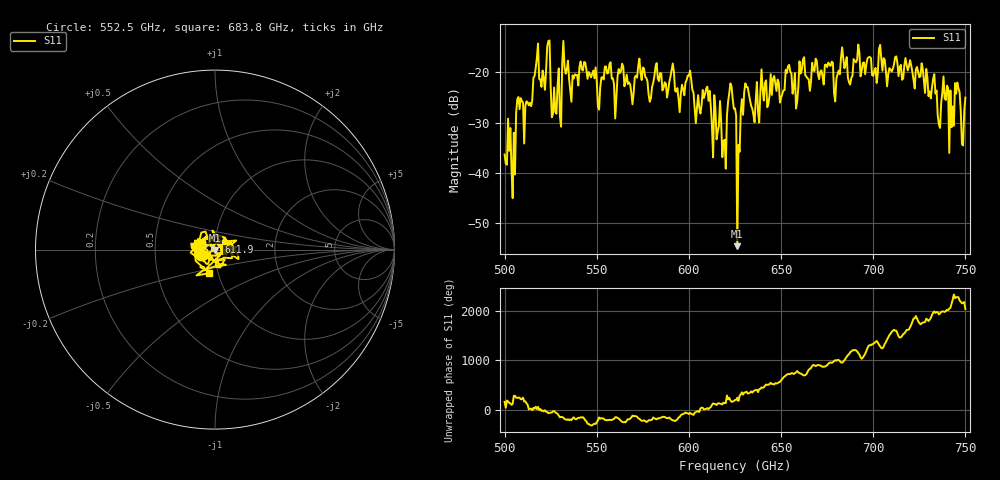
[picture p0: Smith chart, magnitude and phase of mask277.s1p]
!Created with skrf (http://scikit-rf.org).
# GHz S MA R 50.0
!freq magS11 angS11
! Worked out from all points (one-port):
!   401 points, 500 GHz to 750 GHz, reference 50 ohm
!   lowest |S11| = -54.6 dB at 626.2 GHz (marker M1), VSWR 1.00, Z = 49.9 - j0.175 ohm
!   |S11| at or under -10 dB: start of sweep to end of sweep
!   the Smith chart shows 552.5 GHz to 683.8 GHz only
!   S11 on the Smith chart (normalised r, x): 552.5 GHz: 0.85, -0.06; 611.9 GHz: 1.04, +0.09; 683.8 GHz: 0.90, -0.24
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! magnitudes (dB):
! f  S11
! 500 GHz  -36.3
! 505 GHz  -32.0
! 507.5 GHz  -24.9
! 511.9 GHz  -25.8
! 516.9 GHz  -19.2
! 523.8 GHz  -13.8
! 526.9 GHz  -23.0
! 531.2 GHz  -18.4
! 552.5 GHz  -21.1
! 562.5 GHz  -20.2
! 593.8 GHz  -23.1
! 600 GHz  -20.7
! 611.9 GHz  -26.8
! 619.4 GHz  -33.4
! 622.5 GHz  -22.2
! 625 GHz  -27.2
! 626.2 GHz  -54.6
! 631.2 GHz  -23.0
! 635 GHz  -28.5
! 656.2 GHz  -24.2
! 683.8 GHz  -17.2
! 687.5 GHz  -22.4
! 718.8 GHz  -19.6
! 735.6 GHz  -30.4
! 739.4 GHz  -25.5
! 742.5 GHz  -30.9
! 745.6 GHz  -22.0
! 750 GHz  -25.0
